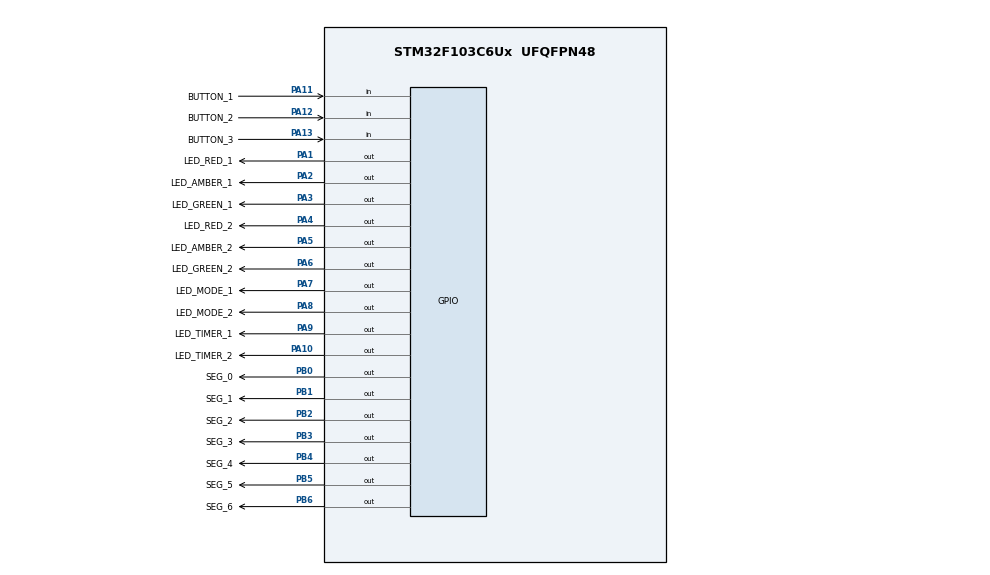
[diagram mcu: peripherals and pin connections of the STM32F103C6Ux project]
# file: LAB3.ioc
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Mcu.Family=STM32F1
Mcu.Name=STM32F103C6Ux
Mcu.Package=UFQFPN48
NVIC.PriorityGroup=NVIC_PRIORITYGROUP_4
NVIC.TIM2_IRQn=true\:0\:0\:false\:false\:true\:true\:true
PA1.GPIO_Label=LED_RED_1
PA1.Signal=GPIO_Output
PA10.GPIO_Label=LED_TIMER_2
PA10.Signal=GPIO_Output
PA11.GPIO_Label=BUTTON_1
PA11.GPIO_PuPd=GPIO_PULLUP
PA11.Signal=GPIO_Input
PA12.GPIO_Label=BUTTON_2
PA12.GPIO_PuPd=GPIO_PULLUP
PA12.Signal=GPIO_Input
PA13.GPIO_Label=BUTTON_3
PA13.GPIO_PuPd=GPIO_PULLUP
PA13.Signal=GPIO_Input
PA2.GPIO_Label=LED_AMBER_1
PA2.Signal=GPIO_Output
PA3.GPIO_Label=LED_GREEN_1
PA3.Signal=GPIO_Output
PA4.GPIO_Label=LED_RED_2
PA4.Signal=GPIO_Output
PA5.GPIO_Label=LED_AMBER_2
PA5.Signal=GPIO_Output
PA6.GPIO_Label=LED_GREEN_2
PA6.Signal=GPIO_Output
PA7.GPIO_Label=LED_MODE_1
PA7.Signal=GPIO_Output
PA8.GPIO_Label=LED_MODE_2
PA8.Signal=GPIO_Output
PA9.GPIO_Label=LED_TIMER_1
PA9.Signal=GPIO_Output
PB0.GPIO_Label=SEG_0
PB0.Signal=GPIO_Output
PB1.GPIO_Label=SEG_1
PB1.Signal=GPIO_Output
PB2.GPIO_Label=SEG_2
PB2.Signal=GPIO_Output
PB3.GPIO_Label=SEG_3
PB3.Signal=GPIO_Output
PB4.GPIO_Label=SEG_4
PB4.Signal=GPIO_Output
PB5.GPIO_Label=SEG_5
PB5.Signal=GPIO_Output
PB6.GPIO_Label=SEG_6
PB6.Signal=GPIO_Output
ProjectManager.HeapSize=0x200
ProjectManager.StackSize=0x400
ProjectManager.TargetToolchain=STM32CubeIDE
RCC.APB1Freq_Value=8000000
RCC.APB2Freq_Value=8000000
TIM2.Period=9
TIM2.Prescaler=7999
VP_SYS_VS_ND.Mode=No_Debug
VP_TIM2_VS_ClockSourceINT.Mode=Internal
board=custom

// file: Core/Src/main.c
/* USER CODE BEGIN Header */
/**
  ******************************************************************************
  * @file           : main.c
  * @brief          : Main program body
  ******************************************************************************
  * @attention
  *
  * <h2><center>&copy; Copyright (c) 2023 STMicroelectronics.
  * All rights reserved.</center></h2>
  *
  * This software component is licensed by ST under BSD 3-Clause license,
  * the "License"; You may not use this file except in compliance with the
  * License. You may obtain a copy of the License at:
  *                        opensource.org/licenses/BSD-3-Clause
  *
  ******************************************************************************
  */
/* USER CODE END Header */
#include "main.h"

/* USER CODE BEGIN Includes */
#include "software_timer.h"
#include "global.h"
#include "fsm_auto.h"
#include "fsm_manual.h"
#include "input_reading.h"
#include "input_processing.h"
/* USER CODE END Includes */

TIM_HandleTypeDef htim2;

void SystemClock_Config(void);
static void MX_GPIO_Init(void);
static void MX_TIM2_Init(void);

int main(void)
{

  /* MCU Configuration--------------------------------------------------------*/

  /* Reset of all peripherals, Initializes the Flash interface and the Systick. */
  HAL_Init();

  /* Configure the system clock */
  SystemClock_Config();

  /* Initialize all configured peripherals */
  MX_GPIO_Init();
  MX_TIM2_Init();
  /* USER CODE BEGIN 2 */
  HAL_TIM_Base_Start_IT(&htim2);
  /* USER CODE END 2 */

  /* Infinite loop */
  int index = 0;
  setTimer0(100);
  setTimer1(100);
  setTimer2(100);
  /* USER CODE BEGIN WHILE */
  while (1)
  {
	  fsm_for_input_processing();
	  if (timer0_flag){
		  fsm_auto_run();
		  setTimer0(100);
	  }
	  if (timer1_flag){
		  fsm_manual_run();
		  setTimer1(50);
	  }
	  if (timer2_flag){
		  state_7seg(index++, num1Seg, num2Seg);
		  if (index > 3){
			  index = 0;
		  }
		  setTimer2(25);
	  }

    /* USER CODE END WHILE */

  }
}

void SystemClock_Config(void)
{
  RCC_OscInitTypeDef RCC_OscInitStruct = {0};
  RCC_ClkInitTypeDef RCC_ClkInitStruct = {0};

  /** Initializes the RCC Oscillators according to the specified parameters
  * in the RCC_OscInitTypeDef structure.
  */
  RCC_OscInitStruct.OscillatorType = RCC_OSCILLATORTYPE_HSI;
  RCC_OscInitStruct.HSIState = RCC_HSI_ON;
  RCC_OscInitStruct.HSICalibrationValue = RCC_HSICALIBRATION_DEFAULT;
  RCC_OscInitStruct.PLL.PLLState = RCC_PLL_NONE;
  if (HAL_RCC_OscConfig(&RCC_OscInitStruct) != HAL_OK)
  {
    Error_Handler();
  }
  /** Initializes the CPU, AHB and APB buses clocks
  */
  RCC_ClkInitStruct.ClockType = RCC_CLOCKTYPE_HCLK|RCC_CLOCKTYPE_SYSCLK
                              |RCC_CLOCKTYPE_PCLK1|RCC_CLOCKTYPE_PCLK2;
  RCC_ClkInitStruct.SYSCLKSource = RCC_SYSCLKSOURCE_HSI;
  RCC_ClkInitStruct.AHBCLKDivider = RCC_SYSCLK_DIV1;
  RCC_ClkInitStruct.APB1CLKDivider = RCC_HCLK_DIV1;
  RCC_ClkInitStruct.APB2CLKDivider = RCC_HCLK_DIV1;

  if (HAL_RCC_ClockConfig(&RCC_ClkInitStruct, FLASH_LATENCY_0) != HAL_OK)
  {
    Error_Handler();
  }
}

static void MX_TIM2_Init(void)
{

  TIM_ClockConfigTypeDef sClockSourceConfig = {0};
  TIM_MasterConfigTypeDef sMasterConfig = {0};

  htim2.Instance = TIM2;
  htim2.Init.Prescaler = 7999;
  htim2.Init.CounterMode = TIM_COUNTERMODE_UP;
  htim2.Init.Period = 9;
  htim2.Init.ClockDivision = TIM_CLOCKDIVISION_DIV1;
  htim2.Init.AutoReloadPreload = TIM_AUTORELOAD_PRELOAD_DISABLE;
  if (HAL_TIM_Base_Init(&htim2) != HAL_OK)
  {
    Error_Handler();
  }
  sClockSourceConfig.ClockSource = TIM_CLOCKSOURCE_INTERNAL;
  if (HAL_TIM_ConfigClockSource(&htim2, &sClockSourceConfig) != HAL_OK)
  {
    Error_Handler();
  }
  sMasterConfig.MasterOutputTrigger = TIM_TRGO_RESET;
  sMasterConfig.MasterSlaveMode = TIM_MASTERSLAVEMODE_DISABLE;
  if (HAL_TIMEx_MasterConfigSynchronization(&htim2, &sMasterConfig) != HAL_OK)
  {
    Error_Handler();
  }

}

static void MX_GPIO_Init(void)
{
  GPIO_InitTypeDef GPIO_InitStruct = {0};

  /* GPIO Ports Clock Enable */
  __HAL_RCC_GPIOA_CLK_ENABLE();
  __HAL_RCC_GPIOB_CLK_ENABLE();

  /*Configure GPIO pin Output Level */
  HAL_GPIO_WritePin(GPIOA, LED_RED_1_Pin|LED_AMBER_1_Pin|LED_GREEN_1_Pin|LED_RED_2_Pin
                          |LED_AMBER_2_Pin|LED_GREEN_2_Pin|LED_MODE_1_Pin|LED_MODE_2_Pin
                          |LED_TIMER_1_Pin|LED_TIMER_2_Pin, GPIO_PIN_SET);

  /*Configure GPIO pin Output Level */
  HAL_GPIO_WritePin(GPIOB, SEG_0_Pin|SEG_1_Pin|SEG_2_Pin|SEG_3_Pin
                          |SEG_4_Pin|SEG_5_Pin|SEG_6_Pin, GPIO_PIN_SET);

  /*Configure GPIO pins : LED_RED_1_Pin LED_AMBER_1_Pin LED_GREEN_1_Pin LED_RED_2_Pin
                           LED_AMBER_2_Pin LED_GREEN_2_Pin LED_MODE_1_Pin LED_MODE_2_Pin
                           LED_TIMER_1_Pin LED_TIMER_2_Pin */
  GPIO_InitStruct.Pin = LED_RED_1_Pin|LED_AMBER_1_Pin|LED_GREEN_1_Pin|LED_RED_2_Pin
                          |LED_AMBER_2_Pin|LED_GREEN_2_Pin|LED_MODE_1_Pin|LED_MODE_2_Pin
                          |LED_TIMER_1_Pin|LED_TIMER_2_Pin;
  GPIO_InitStruct.Mode = GPIO_MODE_OUTPUT_PP;
  GPIO_InitStruct.Pull = GPIO_NOPULL;
  GPIO_InitStruct.Speed = GPIO_SPEED_FREQ_LOW;
  HAL_GPIO_Init(GPIOA, &GPIO_InitStruct);

  /*Configure GPIO pins : SEG_0_Pin SEG_1_Pin SEG_2_Pin SEG_3_Pin
                           SEG_4_Pin SEG_5_Pin SEG_6_Pin */
  GPIO_InitStruct.Pin = SEG_0_Pin|SEG_1_Pin|SEG_2_Pin|SEG_3_Pin
                          |SEG_4_Pin|SEG_5_Pin|SEG_6_Pin;
  GPIO_InitStruct.Mode = GPIO_MODE_OUTPUT_PP;
  GPIO_InitStruct.Pull = GPIO_NOPULL;
  GPIO_InitStruct.Speed = GPIO_SPEED_FREQ_LOW;
  HAL_GPIO_Init(GPIOB, &GPIO_InitStruct);

  /*Configure GPIO pins : BUTTON_1_Pin BUTTON_2_Pin BUTTON_3_Pin */
  GPIO_InitStruct.Pin = BUTTON_1_Pin|BUTTON_2_Pin|BUTTON_3_Pin;
  GPIO_InitStruct.Mode = GPIO_MODE_INPUT;
  GPIO_InitStruct.Pull = GPIO_PULLUP;
  HAL_GPIO_Init(GPIOA, &GPIO_InitStruct);

}

/* USER CODE BEGIN 4 */
void HAL_TIM_PeriodElapsedCallback(TIM_HandleTypeDef *htim){
	if(htim->Instance == TIM2){
		button_reading();
	}
	timer_run();
}
/* USER CODE END 4 */

void Error_Handler(void)
{
  __disable_irq();
  while (1)
  {
  }
}

/************************ (C) COPYRIGHT STMicroelectronics *****END OF FILE****/
